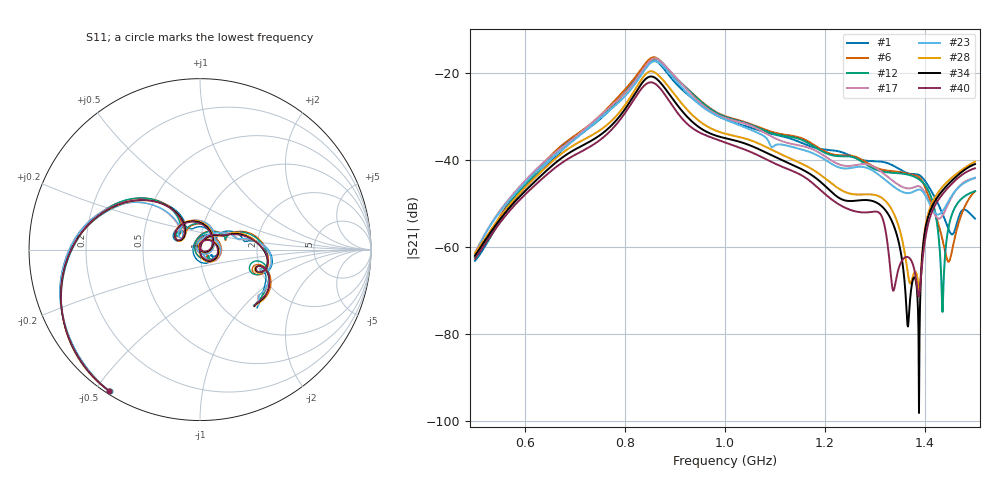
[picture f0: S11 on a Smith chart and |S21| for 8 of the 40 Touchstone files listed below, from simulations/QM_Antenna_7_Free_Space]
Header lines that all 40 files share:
! TOUCHSTONE file generated by CST MICROWAVE STUDIO
! Project name: Scenario_1_Free_Space_out_of_line.cst
! Header version: 2018
! Port assignment regex: !\s*Touchstone port\s*([0-9]+)\s*=\s*(CST MWS port|CST DS port)\s*([0-9]+|Zmin|Zmax)\s*\(\"(.*)\"\)(\s*mode\s*([0-9]+))?.*
! Touchstone port assignment:
! Touchstone port 1 = CST MWS port 1 ("")
! Touchstone port 2 = CST MWS port 2 ("")
# GHz S DB R 50
Fixed: Lambda = 346.42, Step_1 = 17.321, L_HA = 400, MT = 2.54, Rad_Dielectric = 30, Rad_Lower = 7.3, Rad_Upper = 30, a_HA = 580, a_WG = 246, b_HA = 500, b_WG = 121, c_HA = 0, c_WG = 187, d_feed = 85, h_feed = 15, h_lower = 18, h_upper = 40
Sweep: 500 MHz to 1.5 GHz
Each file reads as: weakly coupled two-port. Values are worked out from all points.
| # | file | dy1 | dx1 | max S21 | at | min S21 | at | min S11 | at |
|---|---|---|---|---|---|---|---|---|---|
| 1 | 32_4.s2p | -189.931 | 693 | -17.13 dB | 857 MHz | -63.2 dB | 500 MHz | -41.4 dB | 922 MHz |
| 2 | 32_5.s2p | -189.931 | 866 | -17.85 dB | 857 MHz | -64.5 dB | 1.47 GHz | -38.3 dB | 917 MHz |
| 3 | 32_6.s2p | -189.931 | 1039 | -18.28 dB | 858 MHz | -65.8 dB | 507 MHz | -46.1 dB | 916 MHz |
| 4 | 33_1.s2p | -207.272 | 173 | -15.95 dB | 854 MHz | -59.1 dB | 500 MHz | -35.2 dB | 924 MHz |
| 5 | 33_2.s2p | -207.272 | 346 | -15.41 dB | 856 MHz | -60.7 dB | 500 MHz | -34.7 dB | 1.116 GHz |
| 6 | 33_3.s2p | -207.272 | 520 | -16.33 dB | 858 MHz | -63.4 dB | 1.447 GHz | -36.6 dB | 922 MHz |
| 7 | 33_4.s2p | -207.272 | 693 | -17.39 dB | 862 MHz | -79.1 dB | 1.461 GHz | -41.9 dB | 921 MHz |
| 8 | 33_5.s2p | -207.272 | 866 | -17.91 dB | 857 MHz | -64.1 dB | 500 MHz | -48.3 dB | 917 MHz |
| 9 | 33_6.s2p | -207.272 | 1039 | -18.26 dB | 858 MHz | -64.7 dB | 500 MHz | -50.3 dB | 1.143 GHz |
| 10 | 34_1.s2p | -224.613 | 173 | -16.73 dB | 858 MHz | -59.6 dB | 500 MHz | -37.3 dB | 920 MHz |
| 11 | 34_2.s2p | -224.613 | 346 | -15.97 dB | 856 MHz | -61.0 dB | 500 MHz | -35.7 dB | 1.144 GHz |
| 12 | 34_3.s2p | -224.613 | 520 | -16.71 dB | 861 MHz | -74.9 dB | 1.435 GHz | -37.3 dB | 921 MHz |
| 13 | 34_4.s2p | -224.613 | 693 | -17.56 dB | 857 MHz | -89.2 dB | 1.458 GHz | -28.9 dB | 1.135 GHz |
| 14 | 34_5.s2p | -224.613 | 866 | -18.02 dB | 857 MHz | -64.3 dB | 500 MHz | -47.9 dB | 916 MHz |
| 15 | 34_6.s2p | -224.613 | 1039 | -18.24 dB | 858 MHz | -64.9 dB | 500 MHz | -56.2 dB | 1.142 GHz |
| 16 | 35_1.s2p | -241.954 | 173 | -17.64 dB | 854 MHz | -60.2 dB | 500 MHz | -39.6 dB | 916 MHz |
| 17 | 35_2.s2p | -241.954 | 346 | -16.60 dB | 860 MHz | -61.3 dB | 500 MHz | -40.3 dB | 1.145 GHz |
| 18 | 35_3.s2p | -241.954 | 520 | -17.08 dB | 857 MHz | -66.2 dB | 1.443 GHz | -37.9 dB | 918 MHz |
| 19 | 35_4.s2p | -241.954 | 693 | -17.84 dB | 857 MHz | -63.8 dB | 500 MHz | -29.6 dB | 1.135 GHz |
| 20 | 35_5.s2p | -241.954 | 866 | -18.16 dB | 857 MHz | -70.8 dB | 1.457 GHz | -48.6 dB | 915 MHz |
| 21 | 35_6.s2p | -241.954 | 1039 | -18.32 dB | 862 MHz | -65.2 dB | 500 MHz | -50.3 dB | 913 MHz |
| 22 | 36_1.s2p | -259.295 | 173 | -18.56 dB | 853 MHz | -72.4 dB | 1.383 GHz | -45.1 dB | 1.127 GHz |
| 23 | 36_2.s2p | -259.295 | 346 | -17.25 dB | 860 MHz | -61.7 dB | 500 MHz | -47.7 dB | 1.145 GHz |
| 24 | 36_3.s2p | -259.295 | 520 | -17.53 dB | 860 MHz | -62.8 dB | 500 MHz | -39.2 dB | 917 MHz |
| 25 | 36_4.s2p | -259.295 | 693 | -18.16 dB | 856 MHz | -64.1 dB | 1.453 GHz | -42.5 dB | 915 MHz |
| 26 | 36_5.s2p | -259.295 | 866 | -18.49 dB | 861 MHz | -64.7 dB | 500 MHz | -49.0 dB | 915 MHz |
| 27 | 36_6.s2p | -259.295 | 1039 | -18.52 dB | 857 MHz | -65.2 dB | 500 MHz | -53.4 dB | 912 MHz |
| 28 | 37_1.s2p | -276.636 | 173 | -19.55 dB | 852 MHz | -69.6 dB | 1.389 GHz | -55.9 dB | 1.13 GHz |
| 29 | 37_2.s2p | -276.636 | 346 | -17.91 dB | 856 MHz | -61.9 dB | 500 MHz | -48.0 dB | 1.144 GHz |
| 30 | 37_3.s2p | -276.636 | 520 | -17.98 dB | 857 MHz | -63.0 dB | 500 MHz | -40.1 dB | 915 MHz |
| 31 | 37_4.s2p | -276.636 | 693 | -18.52 dB | 857 MHz | -64.1 dB | 500 MHz | -44.7 dB | 915 MHz |
| 32 | 37_5.s2p | -276.636 | 866 | -18.74 dB | 856 MHz | -64.7 dB | 500 MHz | -56.0 dB | 914 MHz |
| 33 | 37_6.s2p | -276.636 | 1039 | -18.76 dB | 857 MHz | -65.9 dB | 1.452 GHz | -42.2 dB | 921 MHz |
| 34 | 38_1.s2p | -293.977 | 173 | -20.76 dB | 852 MHz | -98.2 dB | 1.388 GHz | -68.5 dB | 1.134 GHz |
| 35 | 38_2.s2p | -293.977 | 346 | -18.55 dB | 856 MHz | -62.3 dB | 500 MHz | -48.4 dB | 1.145 GHz |
| 36 | 38_3.s2p | -293.977 | 520 | -18.49 dB | 856 MHz | -63.3 dB | 500 MHz | -42.4 dB | 914 MHz |
| 37 | 38_4.s2p | -293.977 | 693 | -18.94 dB | 856 MHz | -64.3 dB | 500 MHz | -46.3 dB | 913 MHz |
| 38 | 38_5.s2p | -293.977 | 866 | -19.06 dB | 857 MHz | -72.6 dB | 1.455 GHz | -55.1 dB | 912 MHz |
| 39 | 38_6.s2p | -293.977 | 1039 | -18.99 dB | 857 MHz | -67.7 dB | 1.451 GHz | -46.3 dB | 917 MHz |
| 40 | 39_1.s2p | -311.318 | 173 | -22.10 dB | 852 MHz | -71.3 dB | 1.388 GHz | -61.1 dB | 1.137 GHz |
